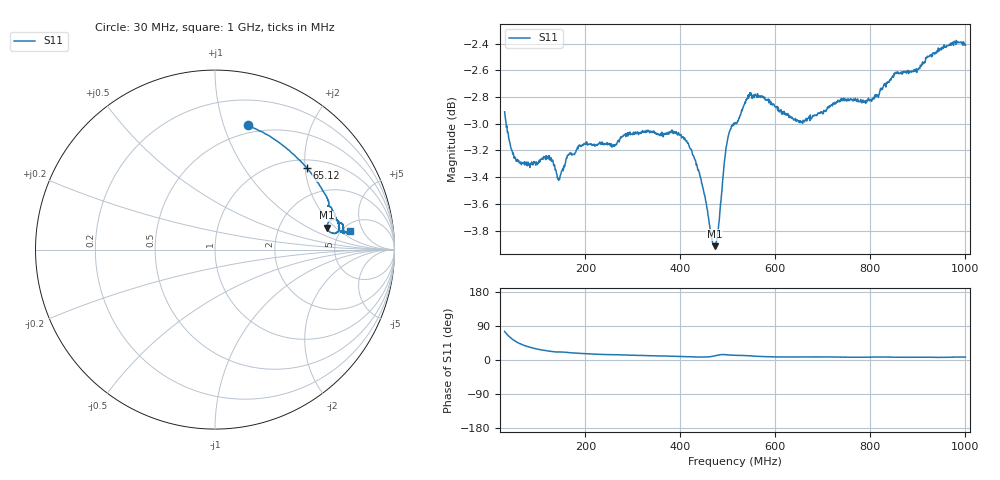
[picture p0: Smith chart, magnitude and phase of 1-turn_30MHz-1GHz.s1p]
# HZ S RI R 50
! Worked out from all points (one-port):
!   1023 points, 30 MHz to 1 GHz, reference 50 ohm
!   lowest |S11| = -3.9 dB at 472.3 MHz (marker M1), VSWR 4.51, Z = 191 + j78.6 ohm
!   |S11| at or under -10 dB: nowhere
!   S11 on the Smith chart (normalised r, x): 30 MHz: 0.43, +1.21; 65.12 MHz: 1.20, +2.04; 1 GHz: 5.88, +2.80
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3e7  0.1821 0.6917
3.949119e7  0.329 0.6158
4.613502e7  0.398 0.5654
5.562621e7  0.4655 0.5034
6.51174e7  0.5116 0.4531
8.220154e7  0.5684 0.3805
1.02133e8  0.6045 0.3213
1.220645e8  0.63 0.2778
1.363013e8  0.6333 0.2486
1.514872e8  0.6359 0.2415
2.1318e8  0.6696 0.1872
2.729745e8  0.6791 0.1654
3.944617e8  0.6915 0.1156
4.200879e8  0.686 0.101
4.495106e8  0.6613 0.0909
4.618491e8  0.6408 0.0971
4.722895e8  0.6252 0.1223
4.798824e8  0.6296 0.1485
4.893736e8  0.6541 0.1679
5.00763e8  0.6814 0.1621
5.149998e8  0.6925 0.151
5.349313e8  0.7046 0.148
5.577102e8  0.7154 0.1251
5.985223e8  0.7115 0.1017
6.36487e8  0.7048 0.0967
7.579743e8  0.717 0.0924
8.794615e8  0.7343 0.0947
9.999996e8  0.7507 0.1015
